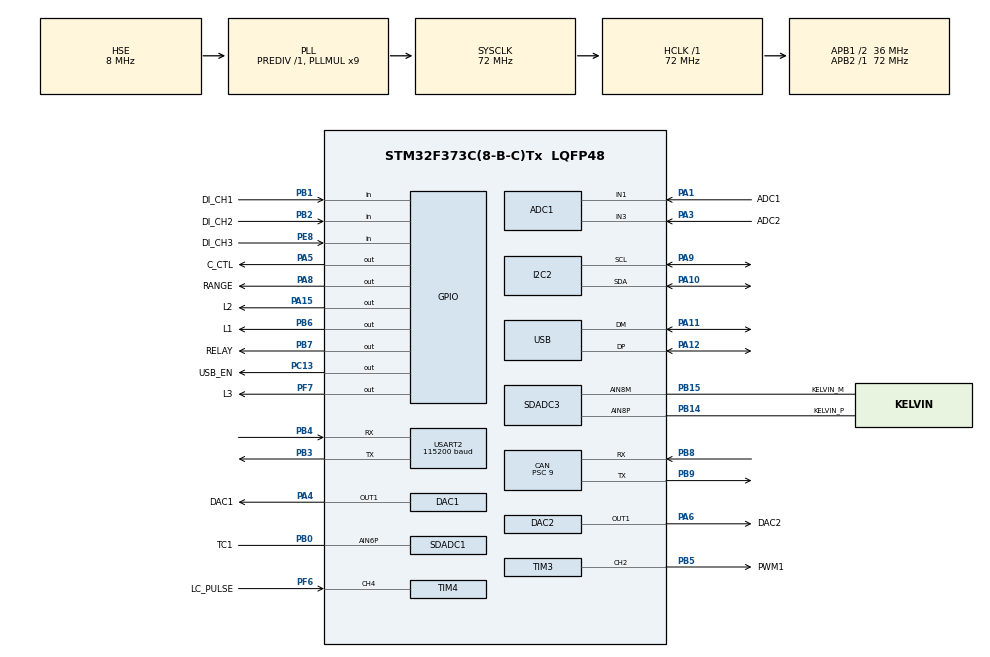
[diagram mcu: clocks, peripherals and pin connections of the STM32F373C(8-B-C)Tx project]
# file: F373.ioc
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ADC1.Channel-7\#ChannelRegularConversion=ADC_CHANNEL_1
ADC1.Channel-8\#ChannelRegularConversion=ADC_CHANNEL_3
ADC1.ContinuousConvMode=ENABLE
ADC1.DataAlign=ADC_DATAALIGN_RIGHT
ADC1.DiscontinuousConvMode=DISABLE
ADC1.EnableAnalogWatchDog=false
ADC1.EnableRegularConversion=ENABLE
ADC1.ExternalTrigConv=ADC_SOFTWARE_START
ADC1.InjNumberOfConversion=0
ADC1.NbrOfConversion=2
ADC1.NbrOfConversionFlag=1
ADC1.Rank-7\#ChannelRegularConversion=1
ADC1.Rank-8\#ChannelRegularConversion=2
ADC1.SamplingTime-7\#ChannelRegularConversion=ADC_SAMPLETIME_239CYCLES_5
ADC1.SamplingTime-8\#ChannelRegularConversion=ADC_SAMPLETIME_239CYCLES_5
ADC1.ScanConvMode=ADC_SCAN_ENABLE
ADC1.master=1
CAN.ABOM=ENABLE
CAN.BS1=CAN_BS1_6TQ
CAN.BS2=CAN_BS2_1TQ
CAN.CalculateTimeBit=2000
CAN.CalculateTimeQuantum=250.0
CAN.Prescaler=9
CAN.TXFP=DISABLE
DAC1.DAC_OutputBuffer=DAC_OUTPUTBUFFER_DISABLE
DAC2.DAC_OutputBuffer=DAC_OUTPUTBUFFER_DISABLE
Dma.ADC1.2.Direction=DMA_PERIPH_TO_MEMORY
Dma.ADC1.2.Instance=DMA1_Channel1
Dma.ADC1.2.MemDataAlignment=DMA_MDATAALIGN_WORD
Dma.ADC1.2.MemInc=DMA_MINC_ENABLE
Dma.ADC1.2.Mode=DMA_CIRCULAR
Dma.ADC1.2.PeriphDataAlignment=DMA_PDATAALIGN_HALFWORD
Dma.ADC1.2.PeriphInc=DMA_PINC_DISABLE
Dma.ADC1.2.Priority=DMA_PRIORITY_MEDIUM
Dma.Request0=USART2_RX
Dma.Request1=USART2_TX
Dma.Request2=ADC1
Dma.Request3=SDADC3
Dma.Request4=SDADC1
Dma.SDADC1.4.Direction=DMA_PERIPH_TO_MEMORY
Dma.SDADC1.4.Instance=DMA2_Channel3
Dma.SDADC1.4.MemDataAlignment=DMA_MDATAALIGN_WORD
Dma.SDADC1.4.MemInc=DMA_MINC_ENABLE
Dma.SDADC1.4.Mode=DMA_CIRCULAR
Dma.SDADC1.4.PeriphDataAlignment=DMA_PDATAALIGN_WORD
Dma.SDADC1.4.PeriphInc=DMA_PINC_DISABLE
Dma.SDADC1.4.Priority=DMA_PRIORITY_LOW
Dma.SDADC3.3.Direction=DMA_PERIPH_TO_MEMORY
Dma.SDADC3.3.Instance=DMA2_Channel5
Dma.SDADC3.3.MemDataAlignment=DMA_MDATAALIGN_WORD
Dma.SDADC3.3.MemInc=DMA_MINC_ENABLE
Dma.SDADC3.3.Mode=DMA_CIRCULAR
Dma.SDADC3.3.PeriphDataAlignment=DMA_PDATAALIGN_WORD
Dma.SDADC3.3.PeriphInc=DMA_PINC_DISABLE
Dma.SDADC3.3.Priority=DMA_PRIORITY_LOW
Dma.USART2_RX.0.Direction=DMA_PERIPH_TO_MEMORY
Dma.USART2_RX.0.Instance=DMA1_Channel6
Dma.USART2_RX.0.MemDataAlignment=DMA_MDATAALIGN_BYTE
Dma.USART2_RX.0.MemInc=DMA_MINC_ENABLE
Dma.USART2_RX.0.Mode=DMA_CIRCULAR
Dma.USART2_RX.0.PeriphDataAlignment=DMA_PDATAALIGN_BYTE
Dma.USART2_RX.0.PeriphInc=DMA_PINC_DISABLE
Dma.USART2_RX.0.Priority=DMA_PRIORITY_LOW
Dma.USART2_TX.1.Direction=DMA_MEMORY_TO_PERIPH
Dma.USART2_TX.1.Instance=DMA1_Channel7
Dma.USART2_TX.1.MemDataAlignment=DMA_MDATAALIGN_BYTE
Dma.USART2_TX.1.MemInc=DMA_MINC_ENABLE
Dma.USART2_TX.1.Mode=DMA_NORMAL
Dma.USART2_TX.1.PeriphDataAlignment=DMA_PDATAALIGN_BYTE
Dma.USART2_TX.1.PeriphInc=DMA_PINC_DISABLE
Dma.USART2_TX.1.Priority=DMA_PRIORITY_LOW
FREERTOS.Tasks01=defaultTask,0,300,StartDefaultTask,Default,NULL,Dynamic,NULL,NULL;Task_1ms,2,240,Tick1_Task,Default,NULL,Dynamic,NULL,NULL
FREERTOS.configMINIMAL_STACK_SIZE=128
I2C2.Speed=100
Mcu.Family=STM32F3
Mcu.Name=STM32F373C(8-B-C)Tx
Mcu.Package=LQFP48
NVIC.CAN_RX0_IRQn=true\:5\:0\:true\:false\:true\:true\:true
NVIC.DMA1_Channel1_IRQn=true\:5\:0\:false\:false\:true\:true\:true
NVIC.DMA1_Channel6_IRQn=true\:5\:0\:false\:false\:true\:true\:true
NVIC.DMA1_Channel7_IRQn=true\:5\:0\:false\:false\:true\:true\:true
NVIC.DMA2_Channel3_IRQn=true\:5\:0\:false\:false\:true\:true\:true
NVIC.DMA2_Channel5_IRQn=true\:5\:0\:false\:false\:true\:true\:true
NVIC.PriorityGroup=NVIC_PRIORITYGROUP_4
NVIC.TIM4_IRQn=true\:5\:0\:true\:false\:true\:true\:true
NVIC.TIM6_DAC1_IRQn=true\:0\:0\:false\:false\:true\:false\:true
NVIC.TimeBase=TIM6_DAC1_IRQn
NVIC.TimeBaseIP=TIM6
NVIC.USART2_IRQn=true\:5\:0\:false\:false\:true\:true\:true
NVIC.USB_LP_IRQn=true\:5\:0\:false\:false\:true\:true\:true
PA1.GPIO_Label=ADC1
PA1.Mode=IN1
PA1.Signal=ADC1_IN1
PA10.Mode=I2C
PA10.Signal=I2C2_SDA
PA11.Mode=Device
PA11.Signal=USB_DM
PA12.Mode=Device
PA12.Signal=USB_DP
PA13.Mode=Serial_Wire
PA13.Signal=SYS_JTMS-SWDIO
PA14.Mode=Serial_Wire
PA14.Signal=SYS_JTCK-SWCLK
PA15.GPIO_Label=L2
PA15.Signal=GPIO_Output
PA3.GPIO_Label=ADC2
PA3.Mode=IN3
PA3.Signal=ADC1_IN3
PA4.GPIO_Label=DAC1
PA4.Signal=COMP_DAC11_group
PA5.GPIO_Label=C_CTL
PA5.Signal=GPIO_Output
PA6.GPIO_Label=DAC2
PA6.Signal=COMP_DAC21_group
PA8.GPIO_Label=RANGE
PA8.Signal=GPIO_Output
PA9.Mode=I2C
PA9.Signal=I2C2_SCL
PB0.GPIO_Label=TC1
PB0.Mode=IN6-Single-Ended
PB0.Signal=SDADC1_AIN6P
PB1.GPIO_Label=DI_CH1
PB1.GPIO_PuPd=GPIO_PULLUP
PB1.Signal=GPIO_Input
PB14.GPIO_Label=KELVIN_P
PB14.Mode=IN8-Differential
PB14.Signal=SDADC3_AIN8P
PB15.GPIO_Label=KELVIN_M
PB15.Mode=IN8-Differential
PB15.Signal=SDADC3_AIN8M
PB2.GPIO_Label=DI_CH2
PB2.GPIO_PuPd=GPIO_PULLUP
PB2.Signal=GPIO_Input
PB3.Mode=Asynchronous
PB3.Signal=USART2_TX
PB4.Mode=Asynchronous
PB4.Signal=USART2_RX
PB5.GPIO_Label=PWM1
PB5.Signal=S_TIM3_CH2
PB6.GPIO_Label=L1
PB6.Signal=GPIO_Output
PB7.GPIO_Label=RELAY
PB7.Signal=GPIO_Output
PB8.Mode=Master
PB8.Signal=CAN_RX
PB9.Mode=Master
PB9.Signal=CAN_TX
PC13.GPIO_Label=USB_EN
PC13.GPIO_ModeDefaultOutputPP=GPIO_MODE_OUTPUT_PP
PC13.GPIO_Speed=GPIO_SPEED_FREQ_LOW
PC13.PinState=GPIO_PIN_RESET
PC13.Signal=GPIO_Output
PC14-OSC32_IN.Mode=LSE-External-Oscillator
PC14-OSC32_IN.Signal=RCC_OSC32_IN
PC15-OSC32_OUT.Mode=LSE-External-Oscillator
PC15-OSC32_OUT.Signal=RCC_OSC32_OUT
PE8.GPIO_Label=DI_CH3
PE8.GPIO_PuPd=GPIO_PULLUP
PE8.Signal=GPIO_Input
PF0-OSC_IN.Mode=HSE-External-Oscillator
PF0-OSC_IN.Signal=RCC_OSC_IN
PF1-OSC_OUT.Mode=HSE-External-Oscillator
PF1-OSC_OUT.Signal=RCC_OSC_OUT
PF6.GPIO_Label=LC_PULSE
PF6.GPIO_PuPd=GPIO_PULLUP
PF6.GPIO_Speed=GPIO_SPEED_FREQ_MEDIUM
PF6.Signal=S_TIM4_CH4
PF7.GPIO_Label=L3
PF7.Signal=GPIO_Output
ProjectManager.HeapSize=0x200
ProjectManager.StackSize=0x400
ProjectManager.TargetToolchain=MDK-ARM V5
RCC.ADCPresc=RCC_ADC1PCLK2_DIV6
RCC.AHBFreq_Value=72000000
RCC.APB1CLKDivider=RCC_HCLK_DIV2
RCC.APB1Freq_Value=36000000
RCC.APB1TimFreq_Value=72000000
RCC.APB2Freq_Value=72000000
RCC.APB2TimFreq_Value=72000000
RCC.CortexFreq_Value=72000000
RCC.HCLKFreq_Value=72000000
RCC.HSE_VALUE=8000000
RCC.HSI_VALUE=8000000
RCC.PLLMUL=RCC_PLL_MUL9
RCC.PRESCALERUSB=RCC_USBCLKSOURCE_PLL_DIV1_5
RCC.RTCClockSelection=RCC_RTCCLKSOURCE_LSE
RCC.SDADCPresc=RCC_SDADCSYSCLK_DIV12
RCC.SYSCLKFreq_VALUE=72000000
RCC.SYSCLKSource=RCC_SYSCLKSOURCE_PLLCLK
RCC.USBFreq_Value=48000000
RTC.Format=RTC_FORMAT_BIN
SDADC1.CommonMode0=SDADC_COMMON_MODE_VSSA
SDADC1.ContinuousMode=SDADC_CONTINUOUS_CONV_ON
SDADC1.EnableInjectedConversion=DISABLE
SDADC1.EnableRegularconversion=ENABLE
SDADC1.FastConversionMode=SDADC_FAST_CONV_DISABLE
SDADC1.Gain0=SDADC_GAIN_1
SDADC1.IdleLowPowerMode=SDADC_LOWPOWER_NONE
SDADC1.InjDelay=Enable
SDADC1.InjectedContinuousMode=SDADC_CONTINUOUS_CONV_ON
SDADC1.InputMode0=SDADC_INPUT_MODE_SE_ZERO_REFERENCE
SDADC1.MultimodeType=__NULL
SDADC1.NbrOfConversionFlag=1
SDADC1.Offset0=0
SDADC1.ReferenceVoltage=SDADC_VREF_EXT
SDADC1.SlowClockMode=SDADC_SLOW_CLOCK_DISABLE
SDADC1.Trigger=SDADC_SOFTWARE_TRIGGER
SDADC3.CommonMode1=SDADC_COMMON_MODE_VSSA
SDADC3.ContinuousMode=SDADC_CONTINUOUS_CONV_ON
SDADC3.EnableInjectedConversion=DISABLE
SDADC3.EnableRegularconversion=ENABLE
SDADC3.FastConversionMode=SDADC_FAST_CONV_DISABLE
SDADC3.Gain1=SDADC_GAIN_1
SDADC3.IdleLowPowerMode=SDADC_LOWPOWER_NONE
SDADC3.InjDelay=Enable
SDADC3.InjectedContinuousMode=SDADC_CONTINUOUS_CONV_ON
SDADC3.InputMode1=SDADC_INPUT_MODE_DIFF
SDADC3.NbrOfConversionFlag=1
SDADC3.Offset1=0
SDADC3.ReferenceVoltage=SDADC_VREF_EXT
SDADC3.SlowClockMode=SDADC_SLOW_CLOCK_DISABLE
SDADC3.Trigger=SDADC_SOFTWARE_TRIGGER
SH.COMP_DAC11_group.0=DAC1_OUT1,DAC_OUT1
SH.COMP_DAC21_group.0=DAC2_OUT1,DAC_OUT1
SH.S_TIM3_CH2.0=TIM3_CH2,PWM Generation2 CH2
SH.S_TIM4_CH4.0=TIM4_CH4,Input_Capture4_from_TI4
TIM19.AutoReloadPreload=TIM_AUTORELOAD_PRELOAD_ENABLE
TIM19.Channel-Output\ Compare4\ No\ Output=TIM_CHANNEL_4
TIM19.OCMode_4=TIM_OCMODE_ACTIVE
TIM19.Period=10000
TIM19.Prescaler=720
TIM19.TIM_MasterOutputTrigger=TIM_TRGO_RESET
TIM3.AutoReloadPreload=TIM_AUTORELOAD_PRELOAD_ENABLE
TIM3.Channel-PWM\ Generation2\ CH2=TIM_CHANNEL_2
TIM4.AutoReloadPreload=TIM_AUTORELOAD_PRELOAD_ENABLE
TIM4.Channel-Input_Capture4_from_TI4=TIM_CHANNEL_4
TIM4.ICPolarity_CH4=TIM_INPUTCHANNELPOLARITY_FALLING
TIM4.Period=0xFFFF
TIM4.Prescaler=0
TIM5.AutoReloadPreload=TIM_AUTORELOAD_PRELOAD_ENABLE
USART2.BaudRate=115200
USART2.OneBitSampling=UART_ONE_BIT_SAMPLE_DISABLE
USART2.VirtualMode-Asynchronous=VM_ASYNC
USB.low_power_enable=DISABLE
USB_DEVICE.CLASS_NAME_FS=CDC
USB_DEVICE.LANGID_STRING=1042
USB_DEVICE.PRODUCT_STRING_CDC_FS=LT Shiled Virtual ComPort
USB_DEVICE.USBD_SELF_POWERED=0
USB_DEVICE.VirtualMode=Cdc
USB_DEVICE.VirtualModeFS=Cdc_FS
VP_FREERTOS_VS_ENABLE.Mode=Enabled
VP_RTC_VS_RTC_Activate.Mode=RTC_Enabled
VP_RTC_VS_RTC_Calendar.Mode=RTC_Calendar
VP_SDADC1_CONF0.Mode=ConfigZero
VP_SDADC3_CONF1.Mode=ConfigUn
VP_SYS_VS_tim6.Mode=TIM6
VP_TIM19_VS_ClockSourceINT.Mode=Internal
VP_TIM19_VS_no_output4.Mode=Output Compare4 No Output
VP_TIM3_VS_ClockSourceINT.Mode=Internal
VP_TIM4_VS_ClockSourceINT.Mode=Internal
VP_TIM5_VS_ClockSourceINT.Mode=Internal
VP_USB_DEVICE_VS_USB_DEVICE_CDC_FS.Mode=CDC_FS
board=F373

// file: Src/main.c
/**
  ******************************************************************************
  * File Name          : main.c
  * Description        : Main program body
  ******************************************************************************
  * This notice applies to any and all portions of this file
  * that are not between comment pairs USER CODE BEGIN and
  * USER CODE END. Other portions of this file, whether
  * inserted by the user or by software development tools
  * are owned by their respective copyright owners.
  *
  * Copyright (c) 2017 STMicroelectronics International N.V.
  * All rights reserved.
  *
  * Redistribution and use in source and binary forms, with or without
  * modification, are permitted, provided that the following conditions are met:
  *
  * 1. Redistribution of source code must retain the above copyright notice,
  *    this list of conditions and the following disclaimer.
  * 2. Redistributions in binary form must reproduce the above copyright notice,
  *    this list of conditions and the following disclaimer in the documentation
  *    and/or other materials provided with the distribution.
  * 3. Neither the name of STMicroelectronics nor the names of other
  *    contributors to this software may be used to endorse or promote products
  *    derived from this software without specific written permission.
  * 4. This software, including modifications and/or derivative works of this
  *    software, must execute solely and exclusively on microcontroller or
  *    microprocessor devices manufactured by or for STMicroelectronics.
  * 5. Redistribution and use of this software other than as permitted under
  *    this license is void and will automatically terminate your rights under
  *    this license.
  *
  * THIS SOFTWARE IS PROVIDED BY STMICROELECTRONICS AND CONTRIBUTORS "AS IS"
  * AND ANY EXPRESS, IMPLIED OR STATUTORY WARRANTIES, INCLUDING, BUT NOT
  * LIMITED TO, THE IMPLIED WARRANTIES OF MERCHANTABILITY, FITNESS FOR A
  * PARTICULAR PURPOSE AND NON-INFRINGEMENT OF THIRD PARTY INTELLECTUAL PROPERTY
  * RIGHTS ARE DISCLAIMED TO THE FULLEST EXTENT PERMITTED BY LAW. IN NO EVENT
  * SHALL STMICROELECTRONICS OR CONTRIBUTORS BE LIABLE FOR ANY DIRECT, INDIRECT,
  * INCIDENTAL, SPECIAL, EXEMPLARY, OR CONSEQUENTIAL DAMAGES (INCLUDING, BUT NOT
  * LIMITED TO, PROCUREMENT OF SUBSTITUTE GOODS OR SERVICES; LOSS OF USE, DATA,
  * OR PROFITS; OR BUSINESS INTERRUPTION) HOWEVER CAUSED AND ON ANY THEORY OF
  * LIABILITY, WHETHER IN CONTRACT, STRICT LIABILITY, OR TORT (INCLUDING
  * NEGLIGENCE OR OTHERWISE) ARISING IN ANY WAY OUT OF THE USE OF THIS SOFTWARE,
  * EVEN IF ADVISED OF THE POSSIBILITY OF SUCH DAMAGE.
  *
  ******************************************************************************
  */
#include "main.h"
#include "stm32f3xx_hal.h"
#include "cmsis_os.h"
#include "usb_device.h"

/* USER CODE BEGIN Includes */
#include "board.h"
#include "usbd_cdc_if.h"
#include "rtc.h"
#include <mavlink/Lattepanda_shiled/mavlink.h>

/* USER CODE END Includes */

ADC_HandleTypeDef hadc1;
DMA_HandleTypeDef hdma_adc1;

CAN_HandleTypeDef hcan;

DAC_HandleTypeDef hdac1;
DAC_HandleTypeDef hdac2;

I2C_HandleTypeDef hi2c2;

RTC_HandleTypeDef hrtc;

SDADC_HandleTypeDef hsdadc1;
SDADC_HandleTypeDef hsdadc3;
DMA_HandleTypeDef hdma_sdadc1;
DMA_HandleTypeDef hdma_sdadc3;

TIM_HandleTypeDef htim3;
TIM_HandleTypeDef htim4;
TIM_HandleTypeDef htim5;
TIM_HandleTypeDef htim19;

UART_HandleTypeDef huart2;
DMA_HandleTypeDef hdma_usart2_rx;
DMA_HandleTypeDef hdma_usart2_tx;

osThreadId defaultTaskHandle;
osThreadId Task_1msHandle;

/* USER CODE BEGIN PV */

/* Private variables ---------------------------------------------------------*/

/* USER CODE END PV */

void SystemClock_Config(void);
static void MX_GPIO_Init(void);
static void MX_DMA_Init(void);
static void MX_CAN_Init(void);
static void MX_DAC1_Init(void);
static void MX_DAC2_Init(void);
static void MX_SDADC3_Init(void);
static void MX_RTC_Init(void);
static void MX_SDADC1_Init(void);
static void MX_I2C2_Init(void);
static void MX_ADC1_Init(void);
static void MX_USART2_UART_Init(void);
static void MX_TIM4_Init(void);
static void MX_TIM3_Init(void);
static void MX_TIM5_Init(void);
static void MX_TIM19_Init(void);
void StartDefaultTask(void const * argument);
void Tick1_Task(void const * argument);

void HAL_TIM_MspPostInit(TIM_HandleTypeDef *htim);

/* USER CODE BEGIN PFP */
/* Private function prototypes -----------------------------------------------*/

/* USER CODE END PFP */

/* USER CODE BEGIN 0 */

uint32_t Raw_ICP;

//uint32_t VCP_Tick=0;

/* USER CODE END 0 */

int main(void)
{

  /* MCU Configuration----------------------------------------------------------*/

  /* Reset of all peripherals, Initializes the Flash interface and the Systick. */
  HAL_Init();

  /* USER CODE BEGIN Init */
		initEEPROM();
		checkFirstTime(false);
		readEEPROM();
		output_protocl_port_init();
		initSystemset();
  /* USER CODE END Init */

  /* Configure the system clock */
  SystemClock_Config();

  /* USER CODE BEGIN SysInit */

//		if(HAL_RTC_DeInit(&hrtc)!=HAL_OK) {
//				MX_RTC_Init();
//		}
//		else {
//		}

  /* USER CODE END SysInit */

  /* Initialize all configured peripherals */
  MX_GPIO_Init();
  MX_DMA_Init();
  MX_CAN_Init();
  MX_DAC1_Init();
  MX_DAC2_Init();
  MX_SDADC3_Init();
  MX_RTC_Init();
  MX_SDADC1_Init();
  MX_I2C2_Init();
  MX_ADC1_Init();
  MX_USART2_UART_Init();
  MX_TIM4_Init();
  MX_TIM3_Init();
  MX_TIM5_Init();
  MX_TIM19_Init();

  /* USER CODE BEGIN 2 */
	systemInit();
	USB_DECTETION_DISABLE;
		C_CTL_HIGH;

//	xTaskCreate(vDAC_Task, "DAC_Task", 64, NULL, 2, NULL);
//	xTaskCreate(LC_Task, "SDADC_Task", 128, NULL, 0, NULL);
//	xTaskCreate(vADC_Task, "ADC1_Task", 128, NULL, 3, NULL);
//	xTaskCreate(VCP_Task, "USB_Task", 128, NULL, 1, NULL);
////
//	vTaskStartScheduler();
  /* USER CODE END 2 */

  /* Create the thread(s) */
  /* definition and creation of defaultTask */
  osThreadDef(defaultTask, StartDefaultTask, osPriorityNormal, 0, 300);
  defaultTaskHandle = osThreadCreate(osThread(defaultTask), NULL);

  /* definition and creation of Task_1ms */
  osThreadDef(Task_1ms, Tick1_Task, osPriorityHigh, 0, 240);
  Task_1msHandle = osThreadCreate(osThread(Task_1ms), NULL);

  /* Start scheduler */
  osKernelStart();

  /* We should never get here as control is now taken by the scheduler */

  /* Infinite loop */
		while (1)
  {

  }

}

/** System Clock Configuration
*/
void SystemClock_Config(void)
{

  RCC_OscInitTypeDef RCC_OscInitStruct;
  RCC_ClkInitTypeDef RCC_ClkInitStruct;
  RCC_PeriphCLKInitTypeDef PeriphClkInit;

    /**Configure LSE Drive Capability
    */
  __HAL_RCC_LSEDRIVE_CONFIG(RCC_LSEDRIVE_LOW);

    /**Initializes the CPU, AHB and APB busses clocks
    */
  RCC_OscInitStruct.OscillatorType = RCC_OSCILLATORTYPE_HSI|RCC_OSCILLATORTYPE_HSE
                              |RCC_OSCILLATORTYPE_LSE;
  RCC_OscInitStruct.HSEState = RCC_HSE_ON;
  RCC_OscInitStruct.HSEPredivValue = RCC_HSE_PREDIV_DIV1;
  RCC_OscInitStruct.LSEState = RCC_LSE_ON;
  RCC_OscInitStruct.HSIState = RCC_HSI_ON;
  RCC_OscInitStruct.HSICalibrationValue = 16;
  RCC_OscInitStruct.PLL.PLLState = RCC_PLL_ON;
  RCC_OscInitStruct.PLL.PLLSource = RCC_PLLSOURCE_HSE;
  RCC_OscInitStruct.PLL.PLLMUL = RCC_PLL_MUL9;
  if (HAL_RCC_OscConfig(&RCC_OscInitStruct) != HAL_OK)
  {
    _Error_Handler(__FILE__, __LINE__);
  }

    /**Initializes the CPU, AHB and APB busses clocks
    */
  RCC_ClkInitStruct.ClockType = RCC_CLOCKTYPE_HCLK|RCC_CLOCKTYPE_SYSCLK
                              |RCC_CLOCKTYPE_PCLK1|RCC_CLOCKTYPE_PCLK2;
  RCC_ClkInitStruct.SYSCLKSource = RCC_SYSCLKSOURCE_PLLCLK;
  RCC_ClkInitStruct.AHBCLKDivider = RCC_SYSCLK_DIV1;
  RCC_ClkInitStruct.APB1CLKDivider = RCC_HCLK_DIV2;
  RCC_ClkInitStruct.APB2CLKDivider = RCC_HCLK_DIV1;

  if (HAL_RCC_ClockConfig(&RCC_ClkInitStruct, FLASH_LATENCY_2) != HAL_OK)
  {
    _Error_Handler(__FILE__, __LINE__);
  }

  PeriphClkInit.PeriphClockSelection = RCC_PERIPHCLK_USB|RCC_PERIPHCLK_USART2
                              |RCC_PERIPHCLK_I2C2|RCC_PERIPHCLK_RTC
                              |RCC_PERIPHCLK_ADC1|RCC_PERIPHCLK_SDADC;
  PeriphClkInit.Usart2ClockSelection = RCC_USART2CLKSOURCE_PCLK1;
  PeriphClkInit.I2c2ClockSelection = RCC_I2C2CLKSOURCE_HSI;
  PeriphClkInit.RTCClockSelection = RCC_RTCCLKSOURCE_LSE;
  PeriphClkInit.USBClockSelection = RCC_USBCLKSOURCE_PLL_DIV1_5;
  PeriphClkInit.SdadcClockSelection = RCC_SDADCSYSCLK_DIV12;
  PeriphClkInit.Adc1ClockSelection = RCC_ADC1PCLK2_DIV6;

  if (HAL_RCCEx_PeriphCLKConfig(&PeriphClkInit) != HAL_OK)
  {
    _Error_Handler(__FILE__, __LINE__);
  }

  HAL_PWREx_EnableSDADC(PWR_SDADC_ANALOG1);

  HAL_PWREx_EnableSDADC(PWR_SDADC_ANALOG3);

    /**Configure the Systick interrupt time
    */
  HAL_SYSTICK_Config(HAL_RCC_GetHCLKFreq()/1000);

    /**Configure the Systick
    */
  HAL_SYSTICK_CLKSourceConfig(SYSTICK_CLKSOURCE_HCLK);

  /* SysTick_IRQn interrupt configuration */
  HAL_NVIC_SetPriority(SysTick_IRQn, 15, 0);
}

/* ADC1 init function */
static void MX_ADC1_Init(void)
{

  ADC_ChannelConfTypeDef sConfig;

    /**Common config
    */
  hadc1.Instance = ADC1;
  hadc1.Init.ScanConvMode = ADC_SCAN_ENABLE;
  hadc1.Init.ContinuousConvMode = ENABLE;
  hadc1.Init.DiscontinuousConvMode = DISABLE;
  hadc1.Init.ExternalTrigConv = ADC_SOFTWARE_START;
  hadc1.Init.DataAlign = ADC_DATAALIGN_RIGHT;
  hadc1.Init.NbrOfConversion = 2;
  if (HAL_ADC_Init(&hadc1) != HAL_OK)
  {
    _Error_Handler(__FILE__, __LINE__);
  }

    /**Configure Regular Channel
    */
  sConfig.Channel = ADC_CHANNEL_1;
  sConfig.Rank = 1;
  sConfig.SamplingTime = ADC_SAMPLETIME_239CYCLES_5;
  if (HAL_ADC_ConfigChannel(&hadc1, &sConfig) != HAL_OK)
  {
    _Error_Handler(__FILE__, __LINE__);
  }

    /**Configure Regular Channel
    */
  sConfig.Channel = ADC_CHANNEL_3;
  sConfig.Rank = 2;
  if (HAL_ADC_ConfigChannel(&hadc1, &sConfig) != HAL_OK)
  {
    _Error_Handler(__FILE__, __LINE__);
  }

}

/* CAN init function */
static void MX_CAN_Init(void)
{

  hcan.Instance = CAN;
  hcan.Init.Prescaler = 9;
  hcan.Init.Mode = CAN_MODE_NORMAL;
  hcan.Init.SJW = CAN_SJW_1TQ;
  hcan.Init.BS1 = CAN_BS1_6TQ;
  hcan.Init.BS2 = CAN_BS2_1TQ;
  hcan.Init.TTCM = DISABLE;
  hcan.Init.ABOM = ENABLE;
  hcan.Init.AWUM = DISABLE;
  hcan.Init.NART = DISABLE;
  hcan.Init.RFLM = DISABLE;
  hcan.Init.TXFP = DISABLE;
  if (HAL_CAN_Init(&hcan) != HAL_OK)
  {
    _Error_Handler(__FILE__, __LINE__);
  }

}

/* DAC1 init function */
static void MX_DAC1_Init(void)
{

  DAC_ChannelConfTypeDef sConfig;

    /**DAC Initialization
    */
  hdac1.Instance = DAC1;
  if (HAL_DAC_Init(&hdac1) != HAL_OK)
  {
    _Error_Handler(__FILE__, __LINE__);
  }

    /**DAC channel OUT1 config
    */
  sConfig.DAC_Trigger = DAC_TRIGGER_NONE;
  sConfig.DAC_OutputBuffer = DAC_OUTPUTBUFFER_DISABLE;
  if (HAL_DAC_ConfigChannel(&hdac1, &sConfig, DAC_CHANNEL_1) != HAL_OK)
  {
    _Error_Handler(__FILE__, __LINE__);
  }

}

/* DAC2 init function */
static void MX_DAC2_Init(void)
{

  DAC_ChannelConfTypeDef sConfig;

    /**DAC Initialization
    */
  hdac2.Instance = DAC2;
  if (HAL_DAC_Init(&hdac2) != HAL_OK)
  {
    _Error_Handler(__FILE__, __LINE__);
  }

    /**DAC channel OUT1 config
    */
  sConfig.DAC_Trigger = DAC_TRIGGER_NONE;
  sConfig.DAC_OutputBuffer = DAC_OUTPUTBUFFER_DISABLE;
  if (HAL_DAC_ConfigChannel(&hdac2, &sConfig, DAC_CHANNEL_1) != HAL_OK)
  {
    _Error_Handler(__FILE__, __LINE__);
  }

}

/* I2C2 init function */
static void MX_I2C2_Init(void)
{

  hi2c2.Instance = I2C2;
  hi2c2.Init.Timing = 0x2000090E;
  hi2c2.Init.OwnAddress1 = 0;
  hi2c2.Init.AddressingMode = I2C_ADDRESSINGMODE_7BIT;
  hi2c2.Init.DualAddressMode = I2C_DUALADDRESS_DISABLE;
  hi2c2.Init.OwnAddress2 = 0;
  hi2c2.Init.OwnAddress2Masks = I2C_OA2_NOMASK;
  hi2c2.Init.GeneralCallMode = I2C_GENERALCALL_DISABLE;
  hi2c2.Init.NoStretchMode = I2C_NOSTRETCH_DISABLE;
  if (HAL_I2C_Init(&hi2c2) != HAL_OK)
  {
    _Error_Handler(__FILE__, __LINE__);
  }

    /**Configure Analogue filter
    */
  if (HAL_I2CEx_ConfigAnalogFilter(&hi2c2, I2C_ANALOGFILTER_ENABLE) != HAL_OK)
  {
    _Error_Handler(__FILE__, __LINE__);
  }

    /**Configure Digital filter
    */
  if (HAL_I2CEx_ConfigDigitalFilter(&hi2c2, 0) != HAL_OK)
  {
    _Error_Handler(__FILE__, __LINE__);
  }

}

/* RTC init function */
static void MX_RTC_Init(void)
{

  RTC_TimeTypeDef sTime;
  RTC_DateTypeDef sDate;

    /**Initialize RTC Only
    */
  hrtc.Instance = RTC;
  hrtc.Init.HourFormat = RTC_HOURFORMAT_24;
  hrtc.Init.AsynchPrediv = 127;
  hrtc.Init.SynchPrediv = 255;
  hrtc.Init.OutPut = RTC_OUTPUT_DISABLE;
  hrtc.Init.OutPutPolarity = RTC_OUTPUT_POLARITY_HIGH;
  hrtc.Init.OutPutType = RTC_OUTPUT_TYPE_OPENDRAIN;
  if (HAL_RTC_Init(&hrtc) != HAL_OK)
  {
    _Error_Handler(__FILE__, __LINE__);
  }

    /**Initialize RTC and set the Time and Date
    */
  if(HAL_RTCEx_BKUPRead(&hrtc, RTC_BKP_DR0) != 0x32F2){
  sTime.Hours = 0;
  sTime.Minutes = 0;
  sTime.Seconds = 0;
  sTime.DayLightSaving = RTC_DAYLIGHTSAVING_NONE;
  sTime.StoreOperation = RTC_STOREOPERATION_RESET;
  if (HAL_RTC_SetTime(&hrtc, &sTime, RTC_FORMAT_BIN) != HAL_OK)
  {
    _Error_Handler(__FILE__, __LINE__);
  }

  sDate.WeekDay = RTC_WEEKDAY_MONDAY;
  sDate.Month = RTC_MONTH_JANUARY;
  sDate.Date = 1;
  sDate.Year = 0;

  if (HAL_RTC_SetDate(&hrtc, &sDate, RTC_FORMAT_BIN) != HAL_OK)
  {
    _Error_Handler(__FILE__, __LINE__);
  }

    HAL_RTCEx_BKUPWrite(&hrtc,RTC_BKP_DR0,0x32F2);
  }

}

/* SDADC1 init function */
static void MX_SDADC1_Init(void)
{

  SDADC_ConfParamTypeDef ConfParamStruct;

    /**Configure the SDADC low power mode, fast conversion mode,
    slow clock mode and SDADC1 reference voltage
    */
  hsdadc1.Instance = SDADC1;
  hsdadc1.Init.IdleLowPowerMode = SDADC_LOWPOWER_NONE;
  hsdadc1.Init.FastConversionMode = SDADC_FAST_CONV_DISABLE;
  hsdadc1.Init.SlowClockMode = SDADC_SLOW_CLOCK_DISABLE;
  hsdadc1.Init.ReferenceVoltage = SDADC_VREF_EXT;
  if (HAL_SDADC_Init(&hsdadc1) != HAL_OK)
  {
    _Error_Handler(__FILE__, __LINE__);
  }

    /**Configure The Regular Mode
    */
  if (HAL_SDADC_SelectRegularTrigger(&hsdadc1, SDADC_SOFTWARE_TRIGGER) != HAL_OK)
  {
    _Error_Handler(__FILE__, __LINE__);
  }

    /**Set parameters for SDADC configuration 0 Register
    */
  ConfParamStruct.InputMode = SDADC_INPUT_MODE_SE_ZERO_REFERENCE;
  ConfParamStruct.Gain = SDADC_GAIN_1;
  ConfParamStruct.CommonMode = SDADC_COMMON_MODE_VSSA;
  ConfParamStruct.Offset = 0;
  if (HAL_SDADC_PrepareChannelConfig(&hsdadc1, SDADC_CONF_INDEX_0, &ConfParamStruct) != HAL_OK)
  {
    _Error_Handler(__FILE__, __LINE__);
  }

}

/* SDADC3 init function */
static void MX_SDADC3_Init(void)
{

  SDADC_ConfParamTypeDef ConfParamStruct;

    /**Configure the SDADC low power mode, fast conversion mode,
    slow clock mode and SDADC1 reference voltage
    */
  hsdadc3.Instance = SDADC3;
  hsdadc3.Init.IdleLowPowerMode = SDADC_LOWPOWER_NONE;
  hsdadc3.Init.FastConversionMode = SDADC_FAST_CONV_DISABLE;
  hsdadc3.Init.SlowClockMode = SDADC_SLOW_CLOCK_DISABLE;
  hsdadc3.Init.ReferenceVoltage = SDADC_VREF_EXT;
  if (HAL_SDADC_Init(&hsdadc3) != HAL_OK)
  {
    _Error_Handler(__FILE__, __LINE__);
  }

    /**Configure The Regular Mode
    */
  if (HAL_SDADC_SelectRegularTrigger(&hsdadc3, SDADC_SOFTWARE_TRIGGER) != HAL_OK)
  {
    _Error_Handler(__FILE__, __LINE__);
  }

    /**Set parameters for SDADC configuration 1 Register
    */
  ConfParamStruct.InputMode = SDADC_INPUT_MODE_DIFF;
  ConfParamStruct.Gain = SDADC_GAIN_1;
  ConfParamStruct.CommonMode = SDADC_COMMON_MODE_VSSA;
  ConfParamStruct.Offset = 0;
  if (HAL_SDADC_PrepareChannelConfig(&hsdadc3, SDADC_CONF_INDEX_1, &ConfParamStruct) != HAL_OK)
  {
    _Error_Handler(__FILE__, __LINE__);
  }

}

/* TIM3 init function */
static void MX_TIM3_Init(void)
{

  TIM_ClockConfigTypeDef sClockSourceConfig;
  TIM_MasterConfigTypeDef sMasterConfig;
  TIM_OC_InitTypeDef sConfigOC;

  htim3.Instance = TIM3;
  htim3.Init.Prescaler = 0;
  htim3.Init.CounterMode = TIM_COUNTERMODE_UP;
  htim3.Init.Period = 0;
  htim3.Init.ClockDivision = TIM_CLOCKDIVISION_DIV1;
  htim3.Init.AutoReloadPreload = TIM_AUTORELOAD_PRELOAD_ENABLE;
  if (HAL_TIM_Base_Init(&htim3) != HAL_OK)
  {
    _Error_Handler(__FILE__, __LINE__);
  }

  sClockSourceConfig.ClockSource = TIM_CLOCKSOURCE_INTERNAL;
  if (HAL_TIM_ConfigClockSource(&htim3, &sClockSourceConfig) != HAL_OK)
  {
    _Error_Handler(__FILE__, __LINE__);
  }

  if (HAL_TIM_PWM_Init(&htim3) != HAL_OK)
  {
    _Error_Handler(__FILE__, __LINE__);
  }

  sMasterConfig.MasterOutputTrigger = TIM_TRGO_RESET;
  sMasterConfig.MasterSlaveMode = TIM_MASTERSLAVEMODE_DISABLE;
  if (HAL_TIMEx_MasterConfigSynchronization(&htim3, &sMasterConfig) != HAL_OK)
  {
    _Error_Handler(__FILE__, __LINE__);
  }

  sConfigOC.OCMode = TIM_OCMODE_PWM1;
  sConfigOC.Pulse = 0;
  sConfigOC.OCPolarity = TIM_OCPOLARITY_HIGH;
  sConfigOC.OCFastMode = TIM_OCFAST_DISABLE;
  if (HAL_TIM_PWM_ConfigChannel(&htim3, &sConfigOC, TIM_CHANNEL_2) != HAL_OK)
  {
    _Error_Handler(__FILE__, __LINE__);
  }

  HAL_TIM_MspPostInit(&htim3);

}

/* TIM4 init function */
static void MX_TIM4_Init(void)
{

  TIM_ClockConfigTypeDef sClockSourceConfig;
  TIM_MasterConfigTypeDef sMasterConfig;
  TIM_IC_InitTypeDef sConfigIC;

  htim4.Instance = TIM4;
  htim4.Init.Prescaler = 0;
  htim4.Init.CounterMode = TIM_COUNTERMODE_UP;
  htim4.Init.Period = 0xFFFF;
  htim4.Init.ClockDivision = TIM_CLOCKDIVISION_DIV1;
  htim4.Init.AutoReloadPreload = TIM_AUTORELOAD_PRELOAD_ENABLE;
  if (HAL_TIM_Base_Init(&htim4) != HAL_OK)
  {
    _Error_Handler(__FILE__, __LINE__);
  }

  sClockSourceConfig.ClockSource = TIM_CLOCKSOURCE_INTERNAL;
  if (HAL_TIM_ConfigClockSource(&htim4, &sClockSourceConfig) != HAL_OK)
  {
    _Error_Handler(__FILE__, __LINE__);
  }

  if (HAL_TIM_IC_Init(&htim4) != HAL_OK)
  {
    _Error_Handler(__FILE__, __LINE__);
  }

  sMasterConfig.MasterOutputTrigger = TIM_TRGO_RESET;
  sMasterConfig.MasterSlaveMode = TIM_MASTERSLAVEMODE_DISABLE;
  if (HAL_TIMEx_MasterConfigSynchronization(&htim4, &sMasterConfig) != HAL_OK)
  {
    _Error_Handler(__FILE__, __LINE__);
  }

  sConfigIC.ICPolarity = TIM_INPUTCHANNELPOLARITY_FALLING;
  sConfigIC.ICSelection = TIM_ICSELECTION_DIRECTTI;
  sConfigIC.ICPrescaler = TIM_ICPSC_DIV1;
  sConfigIC.ICFilter = 0;
  if (HAL_TIM_IC_ConfigChannel(&htim4, &sConfigIC, TIM_CHANNEL_4) != HAL_OK)
  {
    _Error_Handler(__FILE__, __LINE__);
  }

}

/* TIM5 init function */
static void MX_TIM5_Init(void)
{

  TIM_ClockConfigTypeDef sClockSourceConfig;
  TIM_MasterConfigTypeDef sMasterConfig;

  htim5.Instance = TIM5;
  htim5.Init.Prescaler = 0;
  htim5.Init.CounterMode = TIM_COUNTERMODE_UP;
  htim5.Init.Period = 0;
  htim5.Init.ClockDivision = TIM_CLOCKDIVISION_DIV1;
  htim5.Init.AutoReloadPreload = TIM_AUTORELOAD_PRELOAD_ENABLE;
  if (HAL_TIM_Base_Init(&htim5) != HAL_OK)
  {
    _Error_Handler(__FILE__, __LINE__);
  }

  sClockSourceConfig.ClockSource = TIM_CLOCKSOURCE_INTERNAL;
  if (HAL_TIM_ConfigClockSource(&htim5, &sClockSourceConfig) != HAL_OK)
  {
    _Error_Handler(__FILE__, __LINE__);
  }

  sMasterConfig.MasterOutputTrigger = TIM_TRGO_RESET;
  sMasterConfig.MasterSlaveMode = TIM_MASTERSLAVEMODE_DISABLE;
  if (HAL_TIMEx_MasterConfigSynchronization(&htim5, &sMasterConfig) != HAL_OK)
  {
    _Error_Handler(__FILE__, __LINE__);
  }

}

/* TIM19 init function */
static void MX_TIM19_Init(void)
{

  TIM_ClockConfigTypeDef sClockSourceConfig;
  TIM_MasterConfigTypeDef sMasterConfig;
  TIM_OC_InitTypeDef sConfigOC;

  htim19.Instance = TIM19;
  htim19.Init.Prescaler = 720;
  htim19.Init.CounterMode = TIM_COUNTERMODE_UP;
  htim19.Init.Period = 10000;
  htim19.Init.ClockDivision = TIM_CLOCKDIVISION_DIV1;
  htim19.Init.AutoReloadPreload = TIM_AUTORELOAD_PRELOAD_ENABLE;
  if (HAL_TIM_Base_Init(&htim19) != HAL_OK)
  {
    _Error_Handler(__FILE__, __LINE__);
  }

  sClockSourceConfig.ClockSource = TIM_CLOCKSOURCE_INTERNAL;
  if (HAL_TIM_ConfigClockSource(&htim19, &sClockSourceConfig) != HAL_OK)
  {
    _Error_Handler(__FILE__, __LINE__);
  }

  if (HAL_TIM_OC_Init(&htim19) != HAL_OK)
  {
    _Error_Handler(__FILE__, __LINE__);
  }

  sMasterConfig.MasterOutputTrigger = TIM_TRGO_RESET;
  sMasterConfig.MasterSlaveMode = TIM_MASTERSLAVEMODE_DISABLE;
  if (HAL_TIMEx_MasterConfigSynchronization(&htim19, &sMasterConfig) != HAL_OK)
  {
    _Error_Handler(__FILE__, __LINE__);
  }

  sConfigOC.OCMode = TIM_OCMODE_ACTIVE;
  sConfigOC.Pulse = 0;
  sConfigOC.OCPolarity = TIM_OCPOLARITY_HIGH;
  sConfigOC.OCFastMode = TIM_OCFAST_DISABLE;
  if (HAL_TIM_OC_ConfigChannel(&htim19, &sConfigOC, TIM_CHANNEL_4) != HAL_OK)
  {
    _Error_Handler(__FILE__, __LINE__);
  }

}

/* USART2 init function */
static void MX_USART2_UART_Init(void)
{

  huart2.Instance = USART2;
  huart2.Init.BaudRate = 115200;
  huart2.Init.WordLength = UART_WORDLENGTH_8B;
  huart2.Init.StopBits = UART_STOPBITS_1;
  huart2.Init.Parity = UART_PARITY_NONE;
  huart2.Init.Mode = UART_MODE_TX_RX;
  huart2.Init.HwFlowCtl = UART_HWCONTROL_NONE;
  huart2.Init.OverSampling = UART_OVERSAMPLING_16;
  huart2.Init.OneBitSampling = UART_ONE_BIT_SAMPLE_DISABLE;
  huart2.AdvancedInit.AdvFeatureInit = UART_ADVFEATURE_NO_INIT;
  if (HAL_UART_Init(&huart2) != HAL_OK)
  {
    _Error_Handler(__FILE__, __LINE__);
  }

}

static void MX_DMA_Init(void)
{
  /* DMA controller clock enable */
  __HAL_RCC_DMA1_CLK_ENABLE();
  __HAL_RCC_DMA2_CLK_ENABLE();

  /* DMA interrupt init */
  /* DMA1_Channel1_IRQn interrupt configuration */
  HAL_NVIC_SetPriority(DMA1_Channel1_IRQn, 5, 0);
  HAL_NVIC_EnableIRQ(DMA1_Channel1_IRQn);
  /* DMA1_Channel6_IRQn interrupt configuration */
  HAL_NVIC_SetPriority(DMA1_Channel6_IRQn, 5, 0);
  HAL_NVIC_EnableIRQ(DMA1_Channel6_IRQn);
  /* DMA1_Channel7_IRQn interrupt configuration */
  HAL_NVIC_SetPriority(DMA1_Channel7_IRQn, 5, 0);
  HAL_NVIC_EnableIRQ(DMA1_Channel7_IRQn);
  /* DMA2_Channel3_IRQn interrupt configuration */
  HAL_NVIC_SetPriority(DMA2_Channel3_IRQn, 5, 0);
  HAL_NVIC_EnableIRQ(DMA2_Channel3_IRQn);
  /* DMA2_Channel5_IRQn interrupt configuration */
  HAL_NVIC_SetPriority(DMA2_Channel5_IRQn, 5, 0);
  HAL_NVIC_EnableIRQ(DMA2_Channel5_IRQn);

}

/** Configure pins as
        * Analog
        * Input
        * Output
        * EVENT_OUT
        * EXTI
*/
static void MX_GPIO_Init(void)
{

  GPIO_InitTypeDef GPIO_InitStruct;

  /* GPIO Ports Clock Enable */
  __HAL_RCC_GPIOC_CLK_ENABLE();
  __HAL_RCC_GPIOF_CLK_ENABLE();
  __HAL_RCC_GPIOA_CLK_ENABLE();
  __HAL_RCC_GPIOB_CLK_ENABLE();
  __HAL_RCC_GPIOE_CLK_ENABLE();

  /*Configure GPIO pin Output Level */
  HAL_GPIO_WritePin(USB_EN_GPIO_Port, USB_EN_Pin, GPIO_PIN_RESET);

  /*Configure GPIO pin Output Level */
  HAL_GPIO_WritePin(GPIOA, C_CTL_Pin|RANGE_Pin|L2_Pin, GPIO_PIN_RESET);

  /*Configure GPIO pin Output Level */
  HAL_GPIO_WritePin(L3_GPIO_Port, L3_Pin, GPIO_PIN_RESET);

  /*Configure GPIO pin Output Level */
  HAL_GPIO_WritePin(GPIOB, L1_Pin|RELAY_Pin, GPIO_PIN_RESET);

  /*Configure GPIO pin : USB_EN_Pin */
  GPIO_InitStruct.Pin = USB_EN_Pin;
  GPIO_InitStruct.Mode = GPIO_MODE_OUTPUT_PP;
  GPIO_InitStruct.Pull = GPIO_NOPULL;
  GPIO_InitStruct.Speed = GPIO_SPEED_FREQ_LOW;
  HAL_GPIO_Init(USB_EN_GPIO_Port, &GPIO_InitStruct);

  /*Configure GPIO pins : C_CTL_Pin RANGE_Pin L2_Pin */
  GPIO_InitStruct.Pin = C_CTL_Pin|RANGE_Pin|L2_Pin;
  GPIO_InitStruct.Mode = GPIO_MODE_OUTPUT_PP;
  GPIO_InitStruct.Pull = GPIO_NOPULL;
  GPIO_InitStruct.Speed = GPIO_SPEED_FREQ_LOW;
  HAL_GPIO_Init(GPIOA, &GPIO_InitStruct);

  /*Configure GPIO pins : DI_CH1_Pin DI_CH2_Pin */
  GPIO_InitStruct.Pin = DI_CH1_Pin|DI_CH2_Pin;
  GPIO_InitStruct.Mode = GPIO_MODE_INPUT;
  GPIO_InitStruct.Pull = GPIO_PULLUP;
  HAL_GPIO_Init(GPIOB, &GPIO_InitStruct);

  /*Configure GPIO pin : DI_CH3_Pin */
  GPIO_InitStruct.Pin = DI_CH3_Pin;
  GPIO_InitStruct.Mode = GPIO_MODE_INPUT;
  GPIO_InitStruct.Pull = GPIO_PULLUP;
  HAL_GPIO_Init(DI_CH3_GPIO_Port, &GPIO_InitStruct);

  /*Configure GPIO pin : L3_Pin */
  GPIO_InitStruct.Pin = L3_Pin;
  GPIO_InitStruct.Mode = GPIO_MODE_OUTPUT_PP;
  GPIO_InitStruct.Pull = GPIO_NOPULL;
  GPIO_InitStruct.Speed = GPIO_SPEED_FREQ_LOW;
  HAL_GPIO_Init(L3_GPIO_Port, &GPIO_InitStruct);

  /*Configure GPIO pins : L1_Pin RELAY_Pin */
  GPIO_InitStruct.Pin = L1_Pin|RELAY_Pin;
  GPIO_InitStruct.Mode = GPIO_MODE_OUTPUT_PP;
  GPIO_InitStruct.Pull = GPIO_NOPULL;
  GPIO_InitStruct.Speed = GPIO_SPEED_FREQ_LOW;
  HAL_GPIO_Init(GPIOB, &GPIO_InitStruct);

}

/* StartDefaultTask function */
void StartDefaultTask(void const * argument)
{
  /* init code for USB_DEVICE */
  MX_USB_DEVICE_Init();

  /* USER CODE BEGIN 5 */
	USB_DECTETION_ENABLE;

//CAN_Tranmission_Test();
	CAN_Config();
	sys.can_to_serial_direct_send=1;

	serial_to_can_port.port_init();
	mavlink_port.port_init();

	DAC_init();
  for(;;)
  {

		DAC_output_handller();

		mavlink_port.handller();
		Mavlink_handller();

		CAN_TXD_Time_Handller_en_queue();
		CAN_RXD_Queue_Handller();

		serial_to_can_port.handller();
//		polling_read_rx_dma_buffer_to_queue();

		serial_direct_can_bus();
//		mavlink_interval_send_test();
//	usb_VCP_test();
//		memset((char *)buffer,NULL,sizeof(buffer));
//		sprintf((char*)buffer,"ADC1 =%5dmV, ADC2=%5dmV, Kelvin=%7.3fOhm, tc_temp=%5.1fdegC, Cx=%6.1f\r\n", measu_data.ADC_mV[0], measu_data.ADC_mV[1], measu_data.Kelvin_Ohm, measu_data.TC_temp, Cx);
//		if(HAL_UART_Transmit_DMA(&huart2, (uint8_t *)buffer, strlen((char *)buffer)) != HAL_OK) {
//		}

				osDelay(5);
		}
  /* USER CODE END 5 */
}

/* Tick1_Task function */
void Tick1_Task(void const * argument)
{
  /* USER CODE BEGIN Tick1_Task */

		cfg.set_R_range = R_RANGE_100;
		ADC_init();

	//	if(HAL_TIM_IC_Start_IT(&htim4,TIM_CHANNEL_4) !=HAL_OK) {
//					Error_Handler();
//	}
//	C_CTL_LOW;
  /* Infinite loop */

  for(;;)
  {
		ADC_handller();
		moving_avg_update();

//		LC_meter_handller();
    osDelay(1);//AC 60Hz = 3PLC = 50ms
  }
  /* USER CODE END Tick1_Task */
}

void HAL_TIM_PeriodElapsedCallback(TIM_HandleTypeDef *htim)
{
  if (htim->Instance == TIM6) {
    HAL_IncTick();
  }
}

void _Error_Handler(char * file, int line)
{
  while(1)
  {
  }
}

/************************ (C) COPYRIGHT STMicroelectronics *****END OF FILE****/
